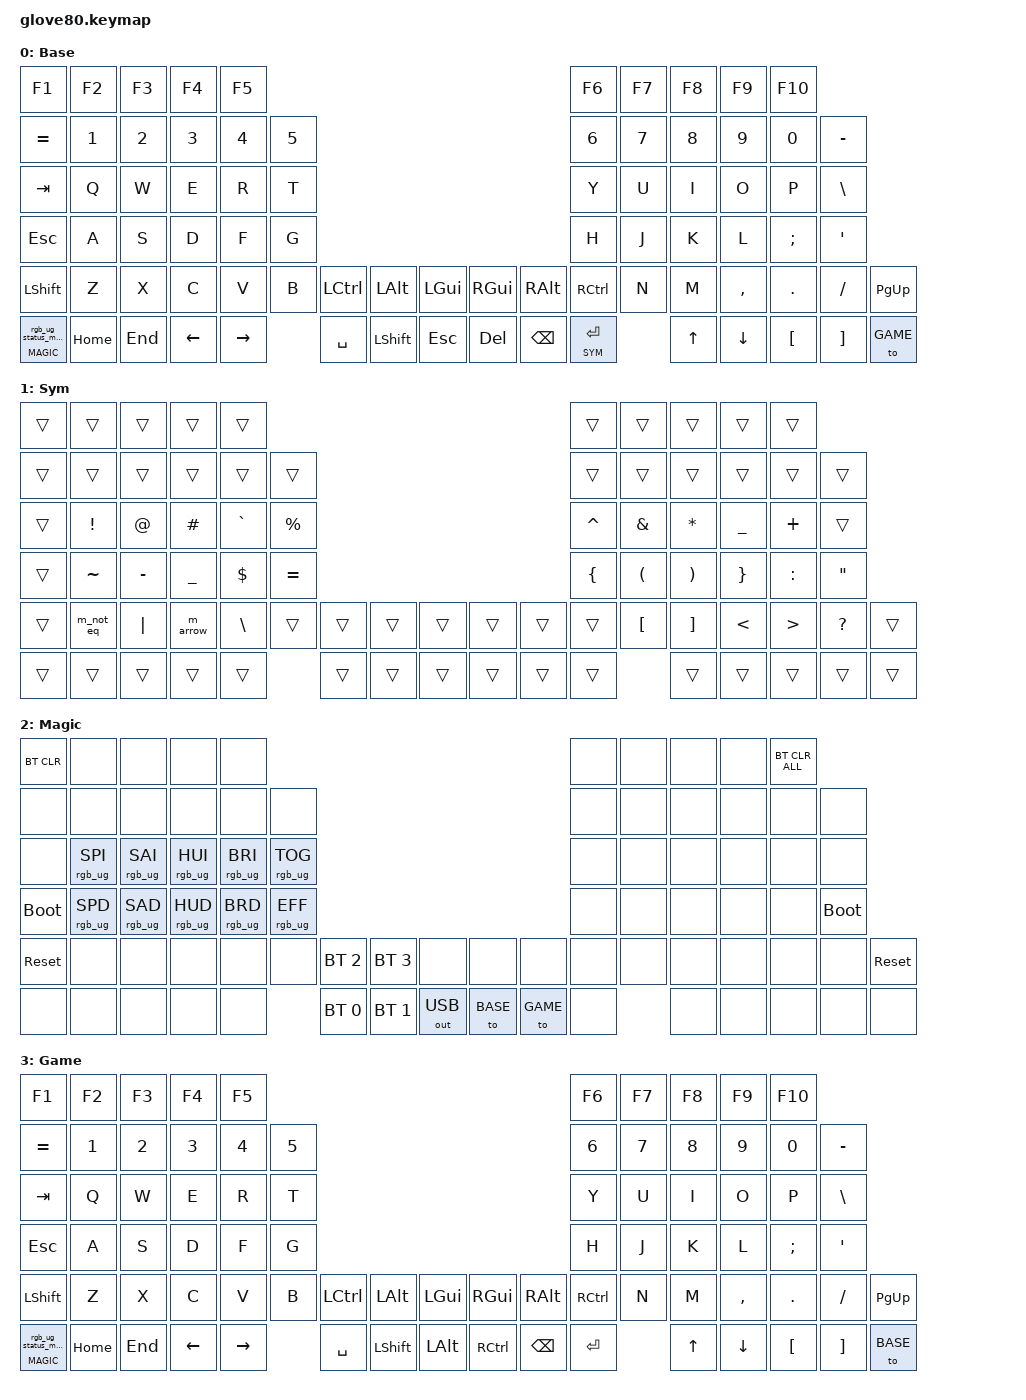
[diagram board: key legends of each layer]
/*
 * GLOVE80 - VIM-CENTRIC / CLEAN-FLOW EDITION (Fixed & Enhanced)
 * SPACE is dedicated and instant. No lag.
 * SYM layer on RET (layer-tap).
 * Added: Caps Word, Arrow Function Macro, Not Equal Macro.
 */

#include <behaviors.dtsi>
#include <dt-bindings/zmk/keys.h>
#include <dt-bindings/zmk/bt.h>
#include <dt-bindings/zmk/ext_power.h>
#include <dt-bindings/zmk/outputs.h>
#include <dt-bindings/zmk/rgb.h>

#define BASE    0
#define SYM     1
#define MAGIC   2
#define GAME    3

/ {
    behaviors {
        // Balanced flavor for RET-SYM layer-tap
        st: sym_tap {
            compatible = "zmk,behavior-hold-tap";
            label = "SYM_TAP";
            #binding-cells = <2>;
            flavor = "balanced";
            tapping-term-ms = <200>;
            quick-tap-ms = <150>;
            bindings = <&mo>, <&kp>;
        };

        // Magic key behavior
        magic: magic_hold_tap {
            compatible = "zmk,behavior-hold-tap";
            label = "MAGIC_HOLD_TAP";
            #binding-cells = <2>;
            flavor = "tap-preferred";
            tapping-term-ms = <200>;
            bindings = <&mo>, <&rgb_ug_status_macro>;
        };

        // Caps Word: Toggle with a combo or dedicated key
        // Stays on for ALPHA_CHARS, turns off on Space/Punctuation
        caps_word: caps_word {
            compatible = "zmk,behavior-caps-word";
            label = "CAPS_WORD";
            #binding-cells = <0>;
            continue-list = <UNDERSCORE MINUS BACKSPACE>;
        };
    };

    macros {
        rgb_ug_status_macro: rgb_ug_status_macro {
            label = "RGB_UG_STATUS";
            compatible = "zmk,behavior-macro";
            #binding-cells = <0>;
            bindings = <&rgb_ug RGB_STATUS>;
        };
        
        // Programming Macros
        m_arrow: m_arrow {
            label = "ARROW_FUNC";
            compatible = "zmk,behavior-macro";
            #binding-cells = <0>;
            bindings = <&kp EQUAL &kp GT>;
        };
        
        m_not_eq: m_not_eq {
            label = "NOT_EQUAL";
            compatible = "zmk,behavior-macro";
            #binding-cells = <0>;
            bindings = <&kp EXCL &kp EQUAL>;
        };
    };

    combos {
        compatible = "zmk,combos";
        
        // Fast JK Escape
        combo_esc {
            timeout-ms = <35>;
            key-positions = <41 42>; 
            bindings = <&kp ESC>;
            layers = <BASE>;
        };

        // Caps Word Toggle (Left Shift + Right Shift)
        combo_caps_word {
            timeout-ms = <50>;
            key-positions = <52 57>; // LSHFT and RSHFT positions
            bindings = <&caps_word>;
        };
    };

    keymap {
        compatible = "zmk,keymap";

        default_layer {
            display-name = "Base";
            bindings = <
            &kp F1          &kp F2      &kp F3      &kp F4      &kp F5                                                                                                          &kp F6      &kp F7      &kp F8      &kp F9      &kp F10
            &kp EQUAL       &kp N1      &kp N2      &kp N3      &kp N4      &kp N5                                                                                              &kp N6      &kp N7      &kp N8      &kp N9      &kp N0      &kp MINUS
            &kp TAB         &kp Q       &kp W       &kp E       &kp R       &kp T                                                                                               &kp Y       &kp U       &kp I       &kp O       &kp P       &kp BSLH
            &kp ESC         &kp A       &kp S       &kp D       &kp F       &kp G                                                                                               &kp H       &kp J       &kp K       &kp L       &kp SEMI    &kp SQT
            &kp LSHIFT       &kp Z       &kp X       &kp C       &kp V       &kp B       &kp LCTRL   &kp LALT    &kp LGUI            &kp RGUI    &kp RALT    &kp RCTRL           &kp N       &kp M       &kp COMMA   &kp DOT     &kp FSLH    &kp PG_UP
            
            &magic MAGIC 0  &kp HOME    &kp END     &kp LEFT    &kp RIGHT               &kp SPACE   &kp LSHFT   &kp ESC           &kp DEL   &kp BSPC    &st SYM RET                      &kp UP      &kp DOWN    &kp LBKT    &kp RBKT    &to GAME
            >;
        };

        sym_layer {
            display-name = "Sym";
            bindings = <
            &trans     &trans     &trans      &trans      &trans                                                                              &trans      &trans      &trans      &trans      &trans
            &trans     &trans     &trans      &trans      &trans      &trans                                                                  &trans      &trans      &trans      &trans      &trans      &trans
            &trans     &kp EXCL   &kp AT      &kp HASH    &kp GRAVE    &kp PRCNT                                                               &kp CARET   &kp AMPS    &kp STAR    &kp UNDER   &kp PLUS    &trans
            &trans     &kp TILDE  &kp MINUS   &kp UNDER   &kp DLLR   &kp EQUAL                                                               &kp LBRC    &kp LPAR    &kp RPAR    &kp RBRC    &kp COLON   &kp DQT
            &trans     &m_not_eq  &kp PIPE    &m_arrow    &kp BSLH    &trans      &trans      &trans      &trans      &trans      &trans      &trans      &kp LBKT    &kp RBKT    &kp LT      &kp GT      &kp QMARK   &trans
            &trans     &trans     &trans      &trans      &trans                  &trans      &trans      &trans      &trans      &trans      &trans                  &trans      &trans      &trans      &trans      &trans
            >;
        };

        magic_layer {
            display-name = "Magic";
            bindings = <
            &bt BT_CLR  &none            &none            &none            &none                                                                                                    &none      &none      &none      &none      &bt BT_CLR_ALL
            &none       &none            &none            &none            &none            &none                                                                        &none      &none      &none      &none      &none      &none
            &none       &rgb_ug RGB_SPI  &rgb_ug RGB_SAI  &rgb_ug RGB_HUI  &rgb_ug RGB_BRI  &rgb_ug RGB_TOG                                                              &none      &none      &none      &none      &none      &none
            &bootloader &rgb_ug RGB_SPD  &rgb_ug RGB_SAD  &rgb_ug RGB_HUD  &rgb_ug RGB_BRD  &rgb_ug RGB_EFF                                                              &none      &none      &none      &none      &none      &bootloader
            &sys_reset  &none            &none            &none            &none            &none            &bt BT_SEL 2  &bt BT_SEL 3  &none            &none  &none  &none  &none      &none      &none      &none      &none      &sys_reset
            &none       &none            &none            &none            &none                             &bt BT_SEL 0  &bt BT_SEL 1  &out OUT_USB     &to BASE  &to GAME  &none      &none      &none      &none      &none      &none
            >;
        };

        game_layer {
            display-name = "Game";
            bindings = <
            &kp F1          &kp F2      &kp F3      &kp F4      &kp F5                                                                                                          &kp F6      &kp F7      &kp F8      &kp F9      &kp F10
            &kp EQUAL       &kp N1      &kp N2      &kp N3      &kp N4      &kp N5                                                                                              &kp N6      &kp N7      &kp N8      &kp N9      &kp N0      &kp MINUS
            &kp TAB         &kp Q       &kp W       &kp E       &kp R       &kp T                                                                                               &kp Y       &kp U       &kp I       &kp O       &kp P       &kp BSLH
            &kp ESC         &kp A       &kp S       &kp D       &kp F       &kp G                                                                                               &kp H       &kp J       &kp K       &kp L       &kp SEMI    &kp SQT
            &kp LSHFT       &kp Z       &kp X       &kp C       &kp V       &kp B       &kp LCTRL   &kp LALT    &kp LGUI            &kp RGUI    &kp RALT    &kp RCTRL           &kp N       &kp M       &kp COMMA   &kp DOT     &kp FSLH    &kp PG_UP
            &magic MAGIC 0  &kp HOME    &kp END     &kp LEFT    &kp RIGHT               &kp SPACE   &kp LSHFT   &kp LALT            &kp RCTRL   &kp BSPC    &kp RET                         &kp UP      &kp DOWN    &kp LBKT    &kp RBKT    &to BASE
            >;
        };
    };
};
